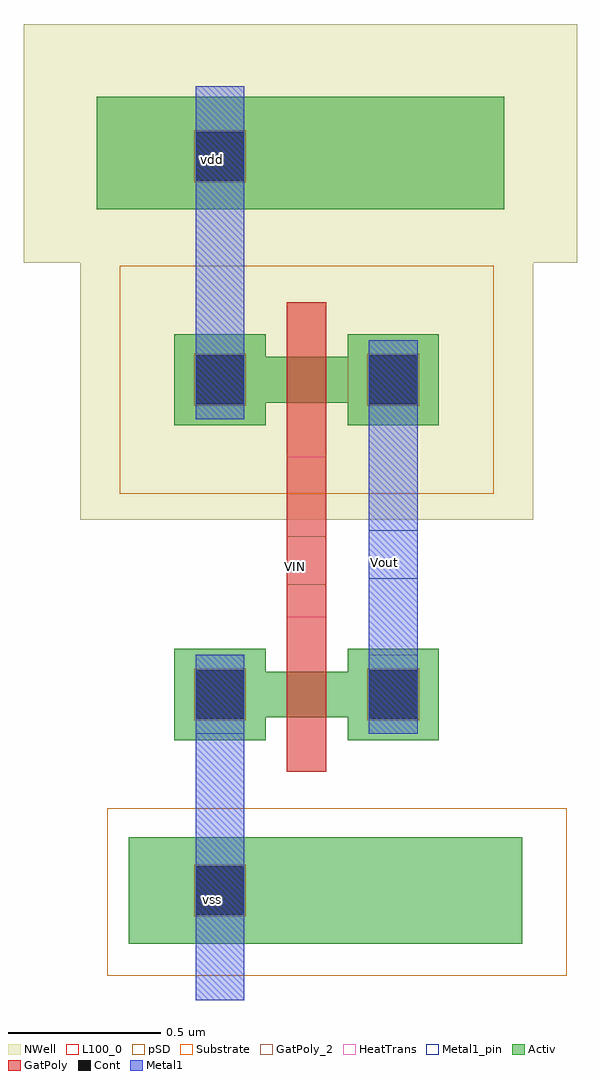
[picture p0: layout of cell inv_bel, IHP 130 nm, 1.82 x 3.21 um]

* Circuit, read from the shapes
.subckt inv_bel VIN Vout vdd vss
XM1 Vout VIN vss vss sg13_lv_nmos w=0.15u l=0.13u
XM2 Vout VIN vdd vdd sg13_lv_pmos w=0.15u l=0.13u
.ends

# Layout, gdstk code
import gdstk
lib = gdstk.Library(unit=1e-6, precision=5e-09)
def R(c, l, rs):  # rectangles x0, y0, x1, y1
    for r in rs: c.add(gdstk.rectangle(r[:2], r[2:], *l))
def P(c, l, *ps):  # polygons
    for p in ps: c.add(gdstk.Polygon(p, *l))
Activ = (1, 0)
GatPoly = (5, 0)
GatPoly_2 = (5, 2)
Cont = (6, 0)
Metal1 = (8, 0)
Metal1_pin = (8, 2)
pSD = (14, 0)
NWell = (31, 0)
Substrate = (40, 0)
HeatTrans = (51, 0)
L100_0 = (100, 0)

pmos = lib.new_cell('pmos')
R(pmos, Activ, [(0,0,0.3,0.3), (0.57,0,0.87,0.3), (0,0.075,0.87,0.225)])
R(pmos, GatPoly, [(0.37,-0.105,0.5,0.405), (0.37,-0.105,0.5,0.405)])
R(pmos, Cont, [(0.07,0.07,0.23,0.23), (0.64,0.07,0.8,0.23)])
R(pmos, Metal1, [(0.07,0.02,0.23,0.28), (0.07,0.02,0.23,0.28), (0.64,0.02,0.8,0.28), (0.64,0.02,0.8,0.28)])
R(pmos, pSD, [(-0.18,-0.225,1.05,0.525)])
R(pmos, NWell, [(-0.31,-0.31,1.18,0.61)])
R(pmos, Substrate, [(0.57,0,0.87,0.3)])
R(pmos, HeatTrans, [(0.37,-0.105,0.5,0.405)])
pmos.add(gdstk.Label('pmos', (0.435,0.15), layer=63, texttype=0))
pmos.add(gdstk.Label('pmos', (0.435,0.15), layer=51, texttype=0))

nmos = lib.new_cell('nmos')
R(nmos, Activ, [(0,0,0.3,0.3), (0.57,0,0.87,0.3), (0,0.075,0.87,0.225)])
R(nmos, GatPoly, [(0.37,-0.105,0.5,0.405)])
R(nmos, GatPoly_2, [(0.37,-0.105,0.5,0.405)])
R(nmos, Cont, [(0.07,0.07,0.23,0.23), (0.64,0.07,0.8,0.23)])
R(nmos, Metal1, [(0.07,0.02,0.23,0.28), (0.64,0.02,0.8,0.28)])
R(nmos, Metal1_pin, [(0.07,0.02,0.23,0.28), (0.64,0.02,0.8,0.28)])
R(nmos, HeatTrans, [(0.37,-0.105,0.5,0.405)])
nmos.add(gdstk.Label('nmos', (0.435,0.15), layer=63, texttype=0))
nmos.add(gdstk.Label('nmos', (0.435,0.15), layer=51, texttype=0))

inv_bel = lib.new_cell('inv_bel')
R(inv_bel, Activ, [(0.16,0.06,1.455,0.41), (0.055,2.475,1.395,2.845)])
P(inv_bel, Activ, [(1.385,0.4),(1.385,0.4),(1.39,0.4),(1.39,0.4)])
R(inv_bel, GatPoly, [(0.68,1.135,0.81,1.66)])
R(inv_bel, GatPoly_2, [(0.68,1.24,0.81,1.4)])
R(inv_bel, Cont, [(0.38,0.155,0.54,0.315), (0.38,2.57,0.54,2.73)])
R(inv_bel, Metal1, [(0.38,-0.125,0.54,0.775), (0.95,1.01,1.11,1.785), (0.38,2.045,0.54,2.805), (0.38,2.805,0.54,2.88)])
R(inv_bel, Metal1_pin, [(0.38,0.155,0.54,0.315), (0.95,1.26,1.11,1.42)])
R(inv_bel, pSD, [(0.09,-0.045,1.6,0.505)])
R(inv_bel, NWell, [(-0.185,2.3,1.635,3.085)])
R(inv_bel, L100_0, [(0.375,0.15,0.545,0.32), (0.375,0.15,0.545,0.32), (0.375,0.795,0.545,0.965), (0.375,0.795,0.545,0.965), (0.945,0.795,1.115,0.965), (0.945,0.795,1.115,0.965), (0.375,1.83,0.545,2), (0.375,1.83,0.545,2), (0.945,1.83,1.115,2), (0.945,1.83,1.115,2), (0.375,2.565,0.545,2.735), (0.375,2.565,0.545,2.735)])
inv_bel.add(gdstk.Reference(pmos, (0.31,1.765)))
inv_bel.add(gdstk.Reference(nmos, (0.31,0.73)))
inv_bel.add(gdstk.Label('vdd', (0.435,2.64), layer=8, texttype=2))
inv_bel.add(gdstk.Label('Vout', (1,1.315), layer=8, texttype=2))
inv_bel.add(gdstk.Label('vss', (0.435,0.205), layer=8, texttype=2))
inv_bel.add(gdstk.Label('VIN', (0.71,1.3), layer=5, texttype=2))

lib.write_gds('inv_bel.gds')
